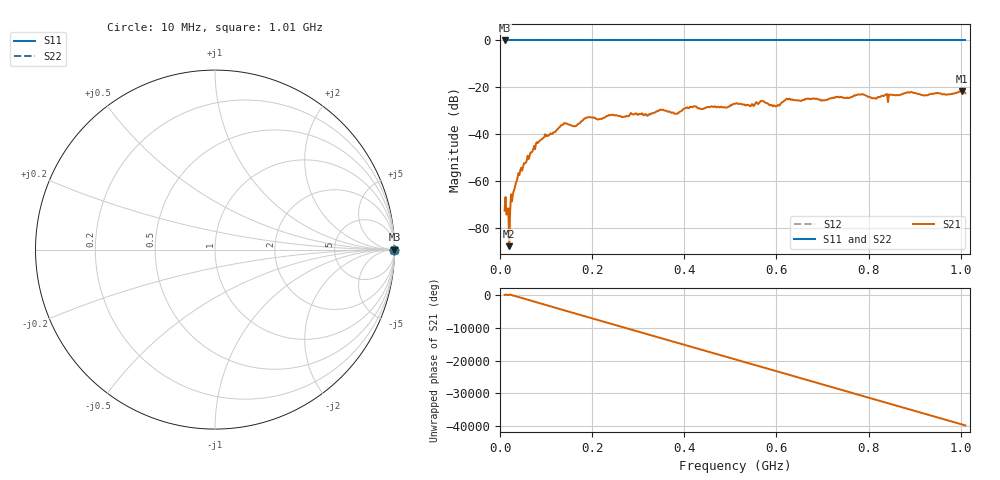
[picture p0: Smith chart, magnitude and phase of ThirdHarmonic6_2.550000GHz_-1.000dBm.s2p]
! 8/17/2025 5:12:32 AM
! C:\ANRITSUVNA\TEMP\TEMP.S2P
! CHANNEL.1
! TR.MEASUREMENT
! RAW.DATA
! RF.CORRECTION.OFF
! AVERAGING.OFF
! IF.BANDWIDTH: 5KHZ
! SWEEPTYPE:  FREQ.SWEEP(Linear)
! Reference Plane Port Info
! PORT:  PORT1  PORT2
! DISTANCE:  0  m  0  m
! TIME:  0  s  0  s
! PHASE.OFFSET:  0  deg.  0  deg.
! LOSS:  0  dB  0  dB
! REF.LOSS:  0  dB  0  dB
! REF.FREQ:  0  Hz  0  Hz
! Power Info
! POWER:  -20  dBm  -20  dBm
! EFF.POWER:  -20  dBm  -20  dBm
! SOURCE.ATTEN:  0  dB  0  dB
! TEST.ATTEN:  0  dB  0  dB
# GHZ S RI R 50.0
! FREQ.GHZ  S11RE  S11IM  S21RE  S21IM  S12RE  S12IM  S22RE  S22IM
!; PortSelection: Port_12
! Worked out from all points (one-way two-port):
!   501 points, 10 MHz to 1.01 GHz, reference 50 ohm
!   highest |S21| = -21.77 dB at 1.002 GHz (marker M1); lowest = -87.9 dB at 20 MHz (marker M2)
!   lowest |S11| = 0.0 dB at 10 MHz (marker M3)
!   |S11| at or under -10 dB: nowhere
!   |S22| runs from 0.0 to 0.0 dB; largest |S21 - S12| = 1.1
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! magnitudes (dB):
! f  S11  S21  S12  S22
! 10 MHz  0.0  -72.7  0.0  0.0
! 18 MHz  0.0  -71.8  0.0  0.0
! 20 MHz  0.0  -87.9  0.0  0.0
! 24 MHz  0.0  -65.7  0.0  0.0
! 28 MHz  0.0  -65.6  0.0  0.0
! 42 MHz  0.0  -57.6  0.0  0.0
! 82 MHz  0.0  -43.8  0.0  0.0
! 136 MHz  0.0  -36.1  0.0  0.0
! 162 MHz  0.0  -36.6  0.0  0.0
! 178 MHz  0.0  -34.4  0.0  0.0
! 344 MHz  0.0  -30.1  0.0  0.0
! 382 MHz  0.0  -31.3  0.0  0.0
! 416 MHz  0.0  -28.6  0.0  0.0
! 510 MHz  0.0  -27.1  0.0  0.0
! 546 MHz  0.0  -27.3  0.0  0.0
! 570 MHz  0.0  -25.8  0.0  0.0
! 596 MHz  0.0  -27.9  0.0  0.0
! 624 MHz  0.0  -25.1  0.0  0.0
! 678 MHz  0.0  -24.8  0.0  0.0
! 844 MHz  0.0  -23.1  0.0  0.0
! 1.002 GHz  0.0  -21.8  0.0  0.0
! 1.01 GHz  0.0  -22.5  0.0  0.0
